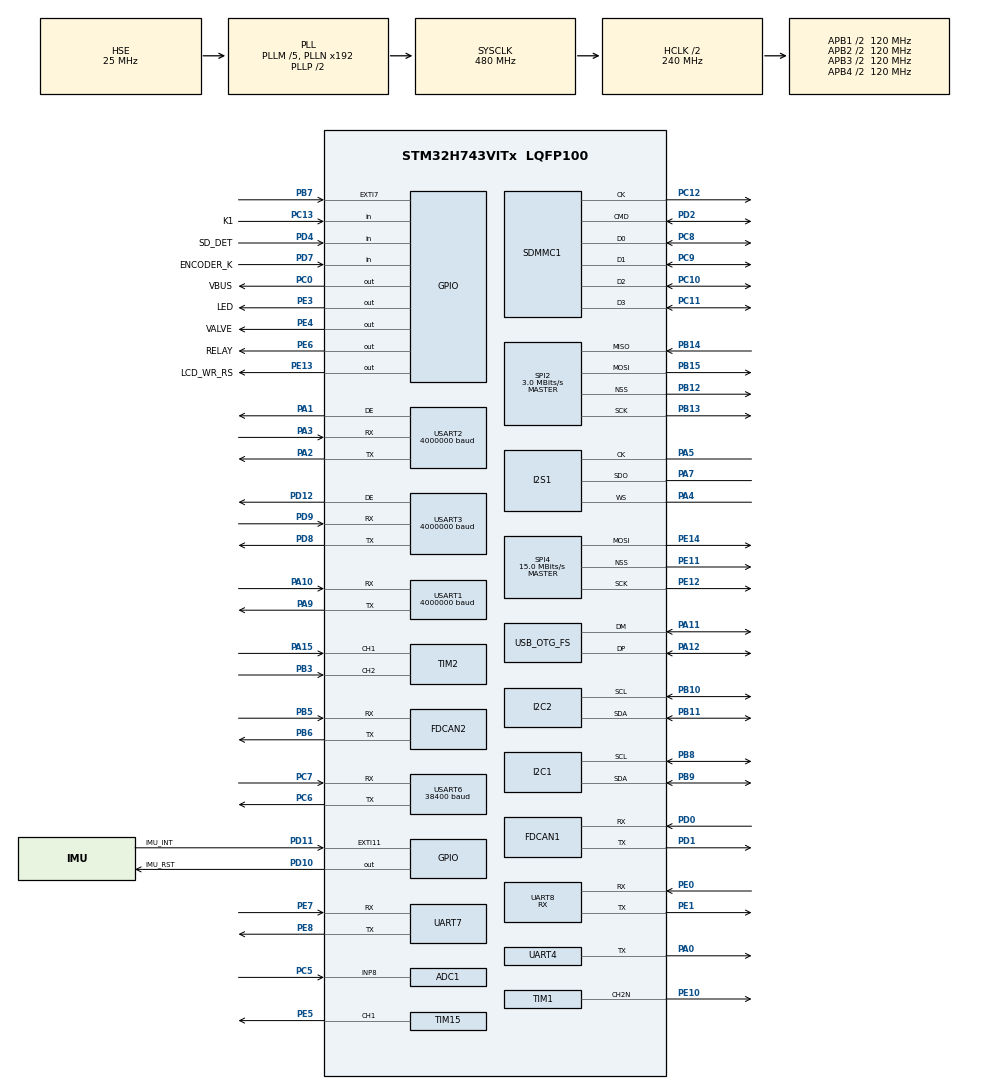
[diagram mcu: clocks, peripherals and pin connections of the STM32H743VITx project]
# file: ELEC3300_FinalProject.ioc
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ADC1.Channel-0\#ChannelRegularConversion=ADC_CHANNEL_8
ADC1.ClockPrescalerADC3=ADC_CLOCK_ASYNC_DIV256
ADC1.NbrOfConversionFlag=1
ADC1.OffsetNumber-0\#ChannelRegularConversion=ADC_OFFSET_NONE
ADC1.OffsetSignedSaturation-0\#ChannelRegularConversion=DISABLE
ADC1.Rank-0\#ChannelRegularConversion=1
ADC1.SamplingTime-0\#ChannelRegularConversion=ADC_SAMPLETIME_1CYCLE_5
ADC1.master=1
ADC3.Channel-0\#ChannelRegularConversion=ADC_CHANNEL_TEMPSENSOR
ADC3.ClockPrescalerADC3=ADC_CLOCK_ASYNC_DIV256
ADC3.ContinuousConvMode=ENABLE
ADC3.NbrOfConversionFlag=1
ADC3.OffsetNumber-0\#ChannelRegularConversion=ADC_OFFSET_NONE
ADC3.OffsetSignedSaturation-0\#ChannelRegularConversion=DISABLE
ADC3.OversamplingMode=DISABLE
ADC3.Rank-0\#ChannelRegularConversion=1
ADC3.Resolution=ADC_RESOLUTION_12B
ADC3.SamplingTime-0\#ChannelRegularConversion=ADC_SAMPLETIME_810CYCLES_5
CORTEX_M7.CPU_ICache=Enabled
CORTEX_M7.default_mode_Activation=0
CRC.CRCLength=CRC_POLYLENGTH_16B
CRC.DefaultInitValueUse=DEFAULT_INIT_VALUE_DISABLE
CRC.DefaultPolynomialUse=DEFAULT_POLYNOMIAL_DISABLE
CRC.GeneratingPolynomial=X12+X5+X0
CRC.InitValue=0xFFFF
CRC.InputDataFormat=CRC_INPUTDATA_FORMAT_BYTES
CRC.InputDataInversionMode=CRC_INPUTDATA_INVERSION_NONE
CRC.OutputDataInversionMode=CRC_OUTPUTDATA_INVERSION_ENABLE
Dma.I2C1_RX.0.Direction=DMA_PERIPH_TO_MEMORY
Dma.I2C1_RX.0.EventEnable=DISABLE
Dma.I2C1_RX.0.FIFOMode=DMA_FIFOMODE_DISABLE
Dma.I2C1_RX.0.Instance=DMA1_Stream5
Dma.I2C1_RX.0.MemDataAlignment=DMA_MDATAALIGN_BYTE
Dma.I2C1_RX.0.MemInc=DMA_MINC_ENABLE
Dma.I2C1_RX.0.Mode=DMA_NORMAL
Dma.I2C1_RX.0.PeriphDataAlignment=DMA_PDATAALIGN_BYTE
Dma.I2C1_RX.0.PeriphInc=DMA_PINC_DISABLE
Dma.I2C1_RX.0.Polarity=HAL_DMAMUX_REQ_GEN_RISING
Dma.I2C1_RX.0.Priority=DMA_PRIORITY_LOW
Dma.I2C1_RX.0.RequestNumber=1
Dma.I2C1_RX.0.SignalID=NONE
Dma.I2C1_RX.0.SyncEnable=DISABLE
Dma.I2C1_RX.0.SyncPolarity=HAL_DMAMUX_SYNC_NO_EVENT
Dma.I2C1_RX.0.SyncRequestNumber=1
Dma.I2C1_RX.0.SyncSignalID=NONE
Dma.I2C1_TX.1.Direction=DMA_MEMORY_TO_PERIPH
Dma.I2C1_TX.1.EventEnable=DISABLE
Dma.I2C1_TX.1.FIFOMode=DMA_FIFOMODE_DISABLE
Dma.I2C1_TX.1.Instance=DMA1_Stream1
Dma.I2C1_TX.1.MemDataAlignment=DMA_MDATAALIGN_BYTE
Dma.I2C1_TX.1.MemInc=DMA_MINC_ENABLE
Dma.I2C1_TX.1.Mode=DMA_NORMAL
Dma.I2C1_TX.1.PeriphDataAlignment=DMA_PDATAALIGN_BYTE
Dma.I2C1_TX.1.PeriphInc=DMA_PINC_DISABLE
Dma.I2C1_TX.1.Polarity=HAL_DMAMUX_REQ_GEN_RISING
Dma.I2C1_TX.1.Priority=DMA_PRIORITY_LOW
Dma.I2C1_TX.1.RequestNumber=1
Dma.I2C1_TX.1.SignalID=NONE
Dma.I2C1_TX.1.SyncEnable=DISABLE
Dma.I2C1_TX.1.SyncPolarity=HAL_DMAMUX_SYNC_NO_EVENT
Dma.I2C1_TX.1.SyncRequestNumber=1
Dma.I2C1_TX.1.SyncSignalID=NONE
Dma.Request0=I2C1_RX
Dma.Request1=I2C1_TX
Dma.Request10=USART2_RX
Dma.Request11=USART2_TX
Dma.Request12=USART3_RX
Dma.Request13=USART3_TX
Dma.Request14=SPI1_TX
Dma.Request2=SPI2_RX
Dma.Request3=SPI2_TX
Dma.Request4=SPI4_TX
Dma.Request5=UART4_TX
Dma.Request6=UART7_RX
Dma.Request7=UART7_TX
Dma.Request8=USART1_RX
Dma.Request9=USART1_TX
Dma.SPI1_TX.14.Direction=DMA_MEMORY_TO_PERIPH
Dma.SPI1_TX.14.EventEnable=DISABLE
Dma.SPI1_TX.14.FIFOMode=DMA_FIFOMODE_DISABLE
Dma.SPI1_TX.14.Instance=DMA2_Stream0
Dma.SPI1_TX.14.MemDataAlignment=DMA_MDATAALIGN_HALFWORD
Dma.SPI1_TX.14.MemInc=DMA_MINC_ENABLE
Dma.SPI1_TX.14.Mode=DMA_NORMAL
Dma.SPI1_TX.14.PeriphDataAlignment=DMA_PDATAALIGN_HALFWORD
Dma.SPI1_TX.14.PeriphInc=DMA_PINC_DISABLE
Dma.SPI1_TX.14.Polarity=HAL_DMAMUX_REQ_GEN_RISING
Dma.SPI1_TX.14.Priority=DMA_PRIORITY_LOW
Dma.SPI1_TX.14.RequestNumber=1
Dma.SPI1_TX.14.SignalID=NONE
Dma.SPI1_TX.14.SyncEnable=DISABLE
Dma.SPI1_TX.14.SyncPolarity=HAL_DMAMUX_SYNC_NO_EVENT
Dma.SPI1_TX.14.SyncRequestNumber=1
Dma.SPI1_TX.14.SyncSignalID=NONE
Dma.SPI2_RX.2.Direction=DMA_PERIPH_TO_MEMORY
Dma.SPI2_RX.2.EventEnable=DISABLE
Dma.SPI2_RX.2.FIFOMode=DMA_FIFOMODE_DISABLE
Dma.SPI2_RX.2.Instance=DMA1_Stream2
Dma.SPI2_RX.2.MemDataAlignment=DMA_MDATAALIGN_BYTE
Dma.SPI2_RX.2.MemInc=DMA_MINC_ENABLE
Dma.SPI2_RX.2.Mode=DMA_NORMAL
Dma.SPI2_RX.2.PeriphDataAlignment=DMA_PDATAALIGN_BYTE
Dma.SPI2_RX.2.PeriphInc=DMA_PINC_DISABLE
Dma.SPI2_RX.2.Polarity=HAL_DMAMUX_REQ_GEN_RISING
Dma.SPI2_RX.2.Priority=DMA_PRIORITY_LOW
Dma.SPI2_RX.2.RequestNumber=1
Dma.SPI2_RX.2.SignalID=NONE
Dma.SPI2_RX.2.SyncEnable=DISABLE
Dma.SPI2_RX.2.SyncPolarity=HAL_DMAMUX_SYNC_NO_EVENT
Dma.SPI2_RX.2.SyncRequestNumber=1
Dma.SPI2_RX.2.SyncSignalID=NONE
Dma.SPI2_TX.3.Direction=DMA_MEMORY_TO_PERIPH
Dma.SPI2_TX.3.EventEnable=DISABLE
Dma.SPI2_TX.3.FIFOMode=DMA_FIFOMODE_DISABLE
Dma.SPI2_TX.3.Instance=DMA1_Stream3
Dma.SPI2_TX.3.MemDataAlignment=DMA_MDATAALIGN_BYTE
Dma.SPI2_TX.3.MemInc=DMA_MINC_ENABLE
Dma.SPI2_TX.3.Mode=DMA_NORMAL
Dma.SPI2_TX.3.PeriphDataAlignment=DMA_PDATAALIGN_BYTE
Dma.SPI2_TX.3.PeriphInc=DMA_PINC_DISABLE
Dma.SPI2_TX.3.Polarity=HAL_DMAMUX_REQ_GEN_RISING
Dma.SPI2_TX.3.Priority=DMA_PRIORITY_LOW
Dma.SPI2_TX.3.RequestNumber=1
Dma.SPI2_TX.3.SignalID=NONE
Dma.SPI2_TX.3.SyncEnable=DISABLE
Dma.SPI2_TX.3.SyncPolarity=HAL_DMAMUX_SYNC_NO_EVENT
Dma.SPI2_TX.3.SyncRequestNumber=1
Dma.SPI2_TX.3.SyncSignalID=NONE
Dma.SPI4_TX.4.Direction=DMA_MEMORY_TO_PERIPH
Dma.SPI4_TX.4.EventEnable=DISABLE
Dma.SPI4_TX.4.FIFOMode=DMA_FIFOMODE_DISABLE
Dma.SPI4_TX.4.Instance=DMA1_Stream4
Dma.SPI4_TX.4.MemDataAlignment=DMA_MDATAALIGN_BYTE
Dma.SPI4_TX.4.MemInc=DMA_MINC_ENABLE
Dma.SPI4_TX.4.Mode=DMA_NORMAL
Dma.SPI4_TX.4.PeriphDataAlignment=DMA_PDATAALIGN_BYTE
Dma.SPI4_TX.4.PeriphInc=DMA_PINC_DISABLE
Dma.SPI4_TX.4.Polarity=HAL_DMAMUX_REQ_GEN_RISING
Dma.SPI4_TX.4.Priority=DMA_PRIORITY_LOW
Dma.SPI4_TX.4.RequestNumber=1
Dma.SPI4_TX.4.SignalID=NONE
Dma.SPI4_TX.4.SyncEnable=DISABLE
Dma.SPI4_TX.4.SyncPolarity=HAL_DMAMUX_SYNC_NO_EVENT
Dma.SPI4_TX.4.SyncRequestNumber=1
Dma.SPI4_TX.4.SyncSignalID=NONE
Dma.UART4_TX.5.Direction=DMA_MEMORY_TO_PERIPH
Dma.UART4_TX.5.EventEnable=DISABLE
Dma.UART4_TX.5.FIFOMode=DMA_FIFOMODE_DISABLE
Dma.UART4_TX.5.Instance=DMA1_Stream0
Dma.UART4_TX.5.MemDataAlignment=DMA_MDATAALIGN_BYTE
Dma.UART4_TX.5.MemInc=DMA_MINC_ENABLE
Dma.UART4_TX.5.Mode=DMA_NORMAL
Dma.UART4_TX.5.PeriphDataAlignment=DMA_PDATAALIGN_BYTE
Dma.UART4_TX.5.PeriphInc=DMA_PINC_DISABLE
Dma.UART4_TX.5.Polarity=HAL_DMAMUX_REQ_GEN_RISING
Dma.UART4_TX.5.Priority=DMA_PRIORITY_LOW
Dma.UART4_TX.5.RequestNumber=1
Dma.UART4_TX.5.SignalID=NONE
Dma.UART4_TX.5.SyncEnable=DISABLE
Dma.UART4_TX.5.SyncPolarity=HAL_DMAMUX_SYNC_NO_EVENT
Dma.UART4_TX.5.SyncRequestNumber=1
Dma.UART4_TX.5.SyncSignalID=NONE
Dma.UART7_RX.6.Direction=DMA_PERIPH_TO_MEMORY
Dma.UART7_RX.6.EventEnable=DISABLE
Dma.UART7_RX.6.FIFOMode=DMA_FIFOMODE_DISABLE
Dma.UART7_RX.6.Instance=DMA1_Stream6
Dma.UART7_RX.6.MemDataAlignment=DMA_MDATAALIGN_BYTE
Dma.UART7_RX.6.MemInc=DMA_MINC_ENABLE
Dma.UART7_RX.6.Mode=DMA_NORMAL
Dma.UART7_RX.6.PeriphDataAlignment=DMA_PDATAALIGN_BYTE
Dma.UART7_RX.6.PeriphInc=DMA_PINC_DISABLE
Dma.UART7_RX.6.Polarity=HAL_DMAMUX_REQ_GEN_RISING
Dma.UART7_RX.6.Priority=DMA_PRIORITY_LOW
Dma.UART7_RX.6.RequestNumber=1
Dma.UART7_RX.6.SignalID=NONE
Dma.UART7_RX.6.SyncEnable=DISABLE
Dma.UART7_RX.6.SyncPolarity=HAL_DMAMUX_SYNC_NO_EVENT
Dma.UART7_RX.6.SyncRequestNumber=1
Dma.UART7_RX.6.SyncSignalID=NONE
Dma.UART7_TX.7.Direction=DMA_MEMORY_TO_PERIPH
Dma.UART7_TX.7.EventEnable=DISABLE
Dma.UART7_TX.7.FIFOMode=DMA_FIFOMODE_DISABLE
Dma.UART7_TX.7.Instance=DMA1_Stream7
Dma.UART7_TX.7.MemDataAlignment=DMA_MDATAALIGN_BYTE
Dma.UART7_TX.7.MemInc=DMA_MINC_ENABLE
Dma.UART7_TX.7.Mode=DMA_NORMAL
Dma.UART7_TX.7.PeriphDataAlignment=DMA_PDATAALIGN_BYTE
Dma.UART7_TX.7.PeriphInc=DMA_PINC_DISABLE
Dma.UART7_TX.7.Polarity=HAL_DMAMUX_REQ_GEN_RISING
Dma.UART7_TX.7.Priority=DMA_PRIORITY_LOW
Dma.UART7_TX.7.RequestNumber=1
Dma.UART7_TX.7.SignalID=NONE
Dma.UART7_TX.7.SyncEnable=DISABLE
Dma.UART7_TX.7.SyncPolarity=HAL_DMAMUX_SYNC_NO_EVENT
Dma.UART7_TX.7.SyncRequestNumber=1
Dma.UART7_TX.7.SyncSignalID=NONE
Dma.USART1_RX.8.Direction=DMA_PERIPH_TO_MEMORY
Dma.USART1_RX.8.EventEnable=DISABLE
Dma.USART1_RX.8.FIFOMode=DMA_FIFOMODE_DISABLE
Dma.USART1_RX.8.Instance=DMA2_Stream1
Dma.USART1_RX.8.MemDataAlignment=DMA_MDATAALIGN_BYTE
Dma.USART1_RX.8.MemInc=DMA_MINC_ENABLE
Dma.USART1_RX.8.Mode=DMA_NORMAL
Dma.USART1_RX.8.PeriphDataAlignment=DMA_PDATAALIGN_BYTE
Dma.USART1_RX.8.PeriphInc=DMA_PINC_DISABLE
Dma.USART1_RX.8.Polarity=HAL_DMAMUX_REQ_GEN_RISING
Dma.USART1_RX.8.Priority=DMA_PRIORITY_LOW
Dma.USART1_RX.8.RequestNumber=1
Dma.USART1_RX.8.SignalID=NONE
Dma.USART1_RX.8.SyncEnable=DISABLE
Dma.USART1_RX.8.SyncPolarity=HAL_DMAMUX_SYNC_NO_EVENT
Dma.USART1_RX.8.SyncRequestNumber=1
Dma.USART1_RX.8.SyncSignalID=NONE
Dma.USART1_TX.9.Direction=DMA_MEMORY_TO_PERIPH
Dma.USART1_TX.9.EventEnable=DISABLE
Dma.USART1_TX.9.FIFOMode=DMA_FIFOMODE_DISABLE
Dma.USART1_TX.9.Instance=DMA2_Stream2
Dma.USART1_TX.9.MemDataAlignment=DMA_MDATAALIGN_BYTE
Dma.USART1_TX.9.MemInc=DMA_MINC_ENABLE
Dma.USART1_TX.9.Mode=DMA_NORMAL
Dma.USART1_TX.9.PeriphDataAlignment=DMA_PDATAALIGN_BYTE
Dma.USART1_TX.9.PeriphInc=DMA_PINC_DISABLE
Dma.USART1_TX.9.Polarity=HAL_DMAMUX_REQ_GEN_RISING
Dma.USART1_TX.9.Priority=DMA_PRIORITY_LOW
Dma.USART1_TX.9.RequestNumber=1
Dma.USART1_TX.9.SignalID=NONE
Dma.USART1_TX.9.SyncEnable=DISABLE
Dma.USART1_TX.9.SyncPolarity=HAL_DMAMUX_SYNC_NO_EVENT
Dma.USART1_TX.9.SyncRequestNumber=1
Dma.USART1_TX.9.SyncSignalID=NONE
Dma.USART2_RX.10.Direction=DMA_PERIPH_TO_MEMORY
Dma.USART2_RX.10.EventEnable=DISABLE
Dma.USART2_RX.10.FIFOMode=DMA_FIFOMODE_DISABLE
Dma.USART2_RX.10.Instance=DMA2_Stream3
Dma.USART2_RX.10.MemDataAlignment=DMA_MDATAALIGN_BYTE
Dma.USART2_RX.10.MemInc=DMA_MINC_ENABLE
Dma.USART2_RX.10.Mode=DMA_NORMAL
Dma.USART2_RX.10.PeriphDataAlignment=DMA_PDATAALIGN_BYTE
Dma.USART2_RX.10.PeriphInc=DMA_PINC_DISABLE
Dma.USART2_RX.10.Polarity=HAL_DMAMUX_REQ_GEN_RISING
Dma.USART2_RX.10.Priority=DMA_PRIORITY_LOW
Dma.USART2_RX.10.RequestNumber=1
Dma.USART2_RX.10.SignalID=NONE
Dma.USART2_RX.10.SyncEnable=DISABLE
Dma.USART2_RX.10.SyncPolarity=HAL_DMAMUX_SYNC_NO_EVENT
Dma.USART2_RX.10.SyncRequestNumber=1
Dma.USART2_RX.10.SyncSignalID=NONE
Dma.USART2_TX.11.Direction=DMA_MEMORY_TO_PERIPH
Dma.USART2_TX.11.EventEnable=DISABLE
Dma.USART2_TX.11.FIFOMode=DMA_FIFOMODE_DISABLE
Dma.USART2_TX.11.Instance=DMA2_Stream4
Dma.USART2_TX.11.MemDataAlignment=DMA_MDATAALIGN_BYTE
Dma.USART2_TX.11.MemInc=DMA_MINC_ENABLE
Dma.USART2_TX.11.Mode=DMA_NORMAL
Dma.USART2_TX.11.PeriphDataAlignment=DMA_PDATAALIGN_BYTE
Dma.USART2_TX.11.PeriphInc=DMA_PINC_DISABLE
Dma.USART2_TX.11.Polarity=HAL_DMAMUX_REQ_GEN_RISING
Dma.USART2_TX.11.Priority=DMA_PRIORITY_LOW
Dma.USART2_TX.11.RequestNumber=1
Dma.USART2_TX.11.SignalID=NONE
Dma.USART2_TX.11.SyncEnable=DISABLE
Dma.USART2_TX.11.SyncPolarity=HAL_DMAMUX_SYNC_NO_EVENT
Dma.USART2_TX.11.SyncRequestNumber=1
Dma.USART2_TX.11.SyncSignalID=NONE
Dma.USART3_RX.12.Direction=DMA_PERIPH_TO_MEMORY
Dma.USART3_RX.12.EventEnable=DISABLE
Dma.USART3_RX.12.FIFOMode=DMA_FIFOMODE_DISABLE
Dma.USART3_RX.12.Instance=DMA2_Stream5
Dma.USART3_RX.12.MemDataAlignment=DMA_MDATAALIGN_BYTE
Dma.USART3_RX.12.MemInc=DMA_MINC_ENABLE
Dma.USART3_RX.12.Mode=DMA_NORMAL
Dma.USART3_RX.12.PeriphDataAlignment=DMA_PDATAALIGN_BYTE
Dma.USART3_RX.12.PeriphInc=DMA_PINC_DISABLE
Dma.USART3_RX.12.Polarity=HAL_DMAMUX_REQ_GEN_RISING
Dma.USART3_RX.12.Priority=DMA_PRIORITY_LOW
Dma.USART3_RX.12.RequestNumber=1
Dma.USART3_RX.12.SignalID=NONE
Dma.USART3_RX.12.SyncEnable=DISABLE
Dma.USART3_RX.12.SyncPolarity=HAL_DMAMUX_SYNC_NO_EVENT
Dma.USART3_RX.12.SyncRequestNumber=1
Dma.USART3_RX.12.SyncSignalID=NONE
Dma.USART3_TX.13.Direction=DMA_MEMORY_TO_PERIPH
Dma.USART3_TX.13.EventEnable=DISABLE
Dma.USART3_TX.13.FIFOMode=DMA_FIFOMODE_DISABLE
Dma.USART3_TX.13.Instance=DMA2_Stream6
Dma.USART3_TX.13.MemDataAlignment=DMA_MDATAALIGN_BYTE
Dma.USART3_TX.13.MemInc=DMA_MINC_ENABLE
Dma.USART3_TX.13.Mode=DMA_NORMAL
Dma.USART3_TX.13.PeriphDataAlignment=DMA_PDATAALIGN_BYTE
Dma.USART3_TX.13.PeriphInc=DMA_PINC_DISABLE
Dma.USART3_TX.13.Polarity=HAL_DMAMUX_REQ_GEN_RISING
Dma.USART3_TX.13.Priority=DMA_PRIORITY_LOW
Dma.USART3_TX.13.RequestNumber=1
Dma.USART3_TX.13.SignalID=NONE
Dma.USART3_TX.13.SyncEnable=DISABLE
Dma.USART3_TX.13.SyncPolarity=HAL_DMAMUX_SYNC_NO_EVENT
Dma.USART3_TX.13.SyncRequestNumber=1
Dma.USART3_TX.13.SyncSignalID=NONE
FDCAN1.AutoRetransmission=DISABLE
FDCAN1.CalculateBaudRateNominal=1000000
FDCAN1.CalculateTimeBitNominal=1000
FDCAN1.CalculateTimeQuantumNominal=83.33333333333333
FDCAN1.DataPrescaler=8
FDCAN1.DataSyncJumpWidth=1
FDCAN1.DataTimeSeg1=8
FDCAN1.DataTimeSeg2=3
FDCAN1.Mode=FDCAN_MODE_NORMAL
FDCAN1.NominalPrescaler=8
FDCAN1.NominalSyncJumpWidth=1
FDCAN1.NominalTimeSeg1=8
FDCAN1.NominalTimeSeg2=3
FDCAN1.RxFifo0ElmtsNbr=32
FDCAN1.RxFifo1ElmtsNbr=0
FDCAN1.StdFiltersNbr=8
FDCAN1.TxFifoQueueElmtsNbr=32
FDCAN1.TxFifoQueueMode=FDCAN_TX_FIFO_OPERATION
FDCAN2.AutoRetransmission=DISABLE
FDCAN2.CalculateBaudRateNominal=1000000
FDCAN2.CalculateTimeBitNominal=1000
FDCAN2.CalculateTimeQuantumNominal=83.33333333333333
FDCAN2.DataPrescaler=8
FDCAN2.DataTimeSeg1=8
FDCAN2.DataTimeSeg2=3
FDCAN2.MessageRAMOffset=1000
FDCAN2.NominalPrescaler=8
FDCAN2.NominalTimeSeg1=8
FDCAN2.NominalTimeSeg2=3
FDCAN2.RxFifo0ElmtsNbr=32
FDCAN2.StdFiltersNbr=16
FDCAN2.TransmitPause=DISABLE
FDCAN2.TxFifoQueueElmtsNbr=32
FDCAN2.TxFifoQueueMode=FDCAN_TX_FIFO_OPERATION
I2C1.Timing=0x307075B1
I2C2.Timing=0x307075B1
I2S1.AudioFreq=I2S_AUDIOFREQ_48K
I2S1.Data24BitAlignment=I2S_DATA_24BIT_ALIGNMENT_LEFT
I2S1.DataFormat=I2S_DATAFORMAT_16B_EXTENDED
I2S1.ErrorAudioFreq=0.8 %
I2S1.FirstBit=I2S_FIRSTBIT_MSB
I2S1.Instance=SPI$Index
I2S1.MasterKeepIOState=I2S_MASTER_KEEP_IO_STATE_DISABLE
I2S1.RealAudioFreq=48.387 KHz
I2S1.Standard=I2S_STANDARD_PHILIPS
I2S1.WSInversion=I2S_WS_INVERSION_DISABLE
Mcu.Family=STM32H7
Mcu.Name=STM32H743VITx
Mcu.Package=LQFP100
NVIC.ADC3_IRQn=true\:14\:0\:true\:false\:true\:true\:true\:true
NVIC.DMA1_Stream0_IRQn=true\:0\:0\:false\:false\:true\:false\:true\:true
NVIC.DMA1_Stream1_IRQn=true\:0\:0\:false\:false\:true\:false\:true\:true
NVIC.DMA1_Stream2_IRQn=true\:0\:0\:false\:false\:true\:false\:true\:true
NVIC.DMA1_Stream3_IRQn=true\:0\:0\:false\:false\:true\:false\:true\:true
NVIC.DMA1_Stream4_IRQn=true\:0\:0\:false\:false\:true\:false\:true\:true
NVIC.DMA1_Stream5_IRQn=true\:0\:0\:false\:false\:true\:false\:true\:true
NVIC.DMA1_Stream6_IRQn=true\:0\:0\:false\:false\:true\:false\:true\:true
NVIC.DMA1_Stream7_IRQn=true\:0\:0\:false\:false\:true\:false\:true\:true
NVIC.DMA2_Stream0_IRQn=true\:0\:0\:true\:false\:true\:false\:true\:true
NVIC.DMA2_Stream1_IRQn=true\:0\:0\:false\:false\:true\:false\:true\:true
NVIC.DMA2_Stream2_IRQn=true\:0\:0\:false\:false\:true\:false\:true\:true
NVIC.DMA2_Stream3_IRQn=true\:0\:0\:false\:false\:true\:false\:true\:true
NVIC.DMA2_Stream4_IRQn=true\:0\:0\:false\:false\:true\:false\:true\:true
NVIC.DMA2_Stream5_IRQn=true\:0\:0\:false\:false\:true\:false\:true\:true
NVIC.DMA2_Stream6_IRQn=true\:0\:0\:false\:false\:true\:false\:true\:true
NVIC.EXTI15_10_IRQn=true\:0\:0\:false\:false\:true\:true\:true\:true
NVIC.FDCAN1_IT0_IRQn=true\:10\:0\:true\:false\:true\:true\:true\:true
NVIC.FDCAN1_IT1_IRQn=true\:10\:0\:true\:false\:true\:true\:true\:true
NVIC.FDCAN2_IT0_IRQn=true\:10\:0\:true\:false\:true\:true\:true\:true
NVIC.FDCAN2_IT1_IRQn=true\:10\:0\:true\:false\:true\:true\:true\:true
NVIC.OTG_FS_IRQn=true\:0\:0\:false\:false\:true\:false\:true\:true
NVIC.PriorityGroup=NVIC_PRIORITYGROUP_4
NVIC.SDMMC1_IRQn=true\:0\:0\:true\:false\:true\:true\:true\:true
NVIC.SPI1_IRQn=true\:4\:0\:true\:false\:true\:true\:true\:true
NVIC.SPI2_IRQn=true\:2\:0\:true\:false\:true\:false\:true\:true
NVIC.SPI4_IRQn=true\:10\:0\:true\:false\:true\:false\:true\:true
NVIC.TIM6_DAC_IRQn=true\:13\:0\:true\:false\:true\:true\:true\:true
NVIC.UART4_IRQn=true\:10\:0\:true\:false\:true\:true\:true\:true
NVIC.USART2_IRQn=true\:0\:0\:false\:false\:true\:true\:true\:true
NVIC.USART6_IRQn=true\:0\:0\:false\:false\:true\:true\:true\:true
PA0.GPIO_ModeDefaultOD=GPIO_MODE_AF_PP
PA0.GPIO_PuPd=GPIO_NOPULL
PA0.Mode=Half_duplex(single_wire_mode)
PA0.Signal=UART4_TX
PA1.GPIO_PuPd=GPIO_PULLDOWN
PA1.Mode=Hardware Flow Control (RS485)
PA1.Signal=USART2_DE
PA10.Mode=Asynchronous
PA10.Signal=USART1_RX
PA11.Mode=Host_Only
PA11.Signal=USB_OTG_FS_DM
PA12.Mode=Host_Only
PA12.PinAttribute=Free
PA12.Signal=USB_OTG_FS_DP
PA13\ (JTMS/SWDIO).Mode=Serial_Wire
PA13\ (JTMS/SWDIO).Signal=DEBUG_JTMS-SWDIO
PA14\ (JTCK/SWCLK).Mode=Serial_Wire
PA14\ (JTCK/SWCLK).Signal=DEBUG_JTCK-SWCLK
PA15\ (JTDI).PinAttribute=Free
PA15\ (JTDI).Signal=S_TIM2_CH1_ETR
PA2.GPIO_PuPd=GPIO_PULLUP
PA2.Mode=Asynchronous
PA2.PinAttribute=Free
PA2.Signal=USART2_TX
PA3.GPIO_PuPd=GPIO_PULLUP
PA3.Mode=Asynchronous
PA3.PinAttribute=Free
PA3.Signal=USART2_RX
PA4.Mode=Half_Duplex_Master_Tx
PA4.PinAttribute=Free
PA4.Signal=I2S1_WS
PA5.Mode=Half_Duplex_Master_Tx
PA5.Signal=I2S1_CK
PA7.Mode=Half_Duplex_Master_Tx
PA7.Signal=I2S1_SDO
PA9.Mode=Asynchronous
PA9.Signal=USART1_TX
PB10.Mode=I2C
PB10.Signal=I2C2_SCL
PB11.Mode=I2C
PB11.Signal=I2C2_SDA
PB12.GPIO_PuPd=GPIO_PULLUP
PB12.Mode=NSS_Signal_Hard_Output
PB12.Signal=SPI2_NSS
PB13.GPIO_PuPd=GPIO_PULLUP
PB13.Mode=Full_Duplex_Master
PB13.Signal=SPI2_SCK
PB14.GPIO_PuPd=GPIO_PULLUP
PB14.Mode=Full_Duplex_Master
PB14.PinAttribute=Free
PB14.Signal=SPI2_MISO
PB15.GPIO_PuPd=GPIO_NOPULL
PB15.Mode=Full_Duplex_Master
PB15.PinAttribute=Free
PB15.Signal=SPI2_MOSI
PB3\ (JTDO/TRACESWO).PinAttribute=Free
PB3\ (JTDO/TRACESWO).Signal=S_TIM2_CH2
PB5.Mode=FDCAN_Activate
PB5.PinAttribute=Free
PB5.Signal=FDCAN2_RX
PB6.Mode=FDCAN_Activate
PB6.Signal=FDCAN2_TX
PB7.Signal=GPXTI7
PB8.Mode=I2C
PB8.PinAttribute=Free
PB8.Signal=I2C1_SCL
PB9.Mode=I2C
PB9.PinAttribute=Free
PB9.Signal=I2C1_SDA
PC0.GPIO_Label=VBUS
PC0.PinAttribute=Free
PC0.Signal=GPIO_Output
PC10.Mode=SD_4_bits_Wide_bus
PC10.Signal=SDMMC1_D2
PC11.Mode=SD_4_bits_Wide_bus
PC11.Signal=SDMMC1_D3
PC12.GPIO_PuPd=GPIO_PULLUP
PC12.Mode=SD_4_bits_Wide_bus
PC12.PinAttribute=Free
PC12.Signal=SDMMC1_CK
PC13.GPIO_Label=K1
PC13.Signal=GPIO_Input
PC5.Signal=ADCx_INP8
PC6.GPIO_PuPd=GPIO_PULLUP
PC6.Mode=Asynchronous
PC6.Signal=USART6_TX
PC7.GPIO_PuPd=GPIO_PULLUP
PC7.Mode=Asynchronous
PC7.Signal=USART6_RX
PC8.Mode=SD_4_bits_Wide_bus
PC8.Signal=SDMMC1_D0
PC9.Mode=SD_4_bits_Wide_bus
PC9.Signal=SDMMC1_D1
PD0.Mode=FDCAN_Activate
PD0.PinAttribute=Free
PD0.Signal=FDCAN1_RX
PD1.Mode=FDCAN_Activate
PD1.PinAttribute=Free
PD1.Signal=FDCAN1_TX
PD10.GPIO_Label=IMU_RST
PD10.GPIO_PuPd=GPIO_PULLDOWN
PD10.Signal=GPIO_Output
PD11.GPIO_Label=IMU_INT
PD11.GPIO_ModeDefaultEXTI=GPIO_MODE_IT_FALLING
PD11.GPIO_PuPd=GPIO_PULLUP
PD11.Signal=GPXTI11
PD12.Mode=Hardware Flow Control (RS485)
PD12.Signal=USART3_DE
PD2.Mode=SD_4_bits_Wide_bus
PD2.PinAttribute=Free
PD2.Signal=SDMMC1_CMD
PD4.GPIO_Label=SD_DET
PD4.GPIO_PuPd=GPIO_PULLDOWN
PD4.PinAttribute=Free
PD4.Signal=GPIO_Input
PD7.GPIO_Label=ENCODER_K
PD7.PinAttribute=Free
PD7.Signal=GPIO_Input
PD8.Mode=Asynchronous
PD8.Signal=USART3_TX
PD9.Mode=Asynchronous
PD9.Signal=USART3_RX
PE0.Mode=IrDA
PE0.Signal=UART8_RX
PE1.Mode=IrDA
PE1.Signal=UART8_TX
PE10.Mode=PWM Generation2 CH2N
PE10.Signal=TIM1_CH2N
PE11.Mode=NSS_Signal_Hard_Output
PE11.Signal=SPI4_NSS
PE12.Mode=TX_Only_Simplex_Unidirect_Master
PE12.Signal=SPI4_SCK
PE13.GPIO_Label=LCD_WR_RS
PE13.Signal=GPIO_Output
PE14.Mode=TX_Only_Simplex_Unidirect_Master
PE14.Signal=SPI4_MOSI
PE3.GPIO_Label=LED
PE3.Signal=GPIO_Output
PE4.GPIO_Label=VALVE
PE4.Signal=GPIO_Output
PE5.Signal=S_TIM15_CH1
PE6.GPIO_Label=RELAY
PE6.Signal=GPIO_Output
PE7.Mode=Asynchronous
PE7.Signal=UART7_RX
PE8.Mode=Asynchronous
PE8.Signal=UART7_TX
PH0-OSC_IN\ (PH0).Mode=HSE-External-Oscillator
PH0-OSC_IN\ (PH0).Signal=RCC_OSC_IN
PH1-OSC_OUT\ (PH1).Mode=HSE-External-Oscillator
PH1-OSC_OUT\ (PH1).PinAttribute=Free
PH1-OSC_OUT\ (PH1).Signal=RCC_OSC_OUT
ProjectManager.HeapSize=0x400
ProjectManager.StackSize=0x800
ProjectManager.TargetToolchain=Makefile
RCC.ADCCLockSelection=RCC_ADCCLKSOURCE_PLL3
RCC.ADCFreq_Value=80000000
RCC.APB1Freq_Value=120000000
RCC.APB2Freq_Value=120000000
RCC.APB3Freq_Value=120000000
RCC.APB4Freq_Value=120000000
RCC.CortexFreq_Value=480000000
RCC.D1PPRE=RCC_APB3_DIV2
RCC.D2PPRE1=RCC_APB1_DIV2
RCC.D2PPRE2=RCC_APB2_DIV2
RCC.D3PPRE=RCC_APB4_DIV2
RCC.DIVM1=5
RCC.DIVM2=5
RCC.DIVM3=5
RCC.DIVN1=192
RCC.DIVN2=160
RCC.DIVN3=96
RCC.DIVP2=5
RCC.DIVP3=10
RCC.DIVQ1=10
RCC.DIVQ2=5
RCC.DIVQ3=10
RCC.DIVR1=20
RCC.DIVR2=4
RCC.DIVR3=6
RCC.HCLKFreq_Value=240000000
RCC.HPRE=RCC_HCLK_DIV2
RCC.PLL1_VCI_Range-AdvancedSettings=RCC_PLL1VCIRANGE_0
RCC.PLL2FRACN=0
RCC.PLL2_VCI_Range-AdvancedSettings=RCC_PLL2VCIRANGE_1
RCC.PLL2_VCO_SEL-AdvancedSettings=RCC_PLL2VCOMEDIUM
RCC.PLL3FRACN=0
RCC.PLL3_VCI_Range-AdvancedSettings=RCC_PLL3VCIRANGE_0
RCC.PLL3_VCO_SEL=RCC_PLL3VCOWIDE
RCC.PLL3_VCO_SEL-AdvancedSettings=RCC_PLL3VCOMEDIUM
RCC.PLLFRACN=0
RCC.PLLSourceVirtual=RCC_PLLSOURCE_HSE
RCC.ProductRev=revV
RCC.SDMMC1CLockSelection=RCC_SDMMCCLKSOURCE_PLL2
RCC.SYSCLKFreq_VALUE=480000000
RCC.SYSCLKSource=RCC_SYSCLKSOURCE_PLLCLK
RCC.USBCLockSelection=RCC_USBCLKSOURCE_PLL3
RCC.USBFreq_Value=48000000
SDMMC1.ClockDiv=0
SDMMC1.HardwareFlowControl=SDMMC_HARDWARE_FLOW_CONTROL_DISABLE
SH.ADCx_INP8.0=ADC1_INP8,IN8-Single-Ended
SH.S_TIM15_CH1.0=TIM15_CH1,PWM Generation1 CH1
SH.S_TIM2_CH1_ETR.0=TIM2_CH1,Encoder_Interface
SH.S_TIM2_CH2.0=TIM2_CH2,Encoder_Interface
SPI2.BaudRatePrescaler=SPI_BAUDRATEPRESCALER_32
SPI2.CLKPhase=SPI_PHASE_2EDGE
SPI2.CLKPolarity=SPI_POLARITY_HIGH
SPI2.CalculateBaudRate=3.0 MBits/s
SPI2.DataSize=SPI_DATASIZE_8BIT
SPI2.Direction=SPI_DIRECTION_2LINES
SPI2.Mode=SPI_MODE_MASTER
SPI2.NSSPMode=SPI_NSS_PULSE_DISABLE
SPI2.VirtualNSS=VM_NSSHARD
SPI2.VirtualType=VM_MASTER
SPI4.BaudRatePrescaler=SPI_BAUDRATEPRESCALER_8
SPI4.CalculateBaudRate=15.0 MBits/s
SPI4.DataSize=SPI_DATASIZE_8BIT
SPI4.Direction=SPI_DIRECTION_2LINES_TXONLY
SPI4.Mode=SPI_MODE_MASTER
SPI4.VirtualNSS=VM_NSSHARD
SPI4.VirtualType=VM_MASTER
TIM1.Channel-PWM\ Generation2\ CH2N=TIM_CHANNEL_2
TIM15.AutoReloadPreload=TIM_AUTORELOAD_PRELOAD_ENABLE
TIM15.Channel-PWM\ Generation1\ CH1=TIM_CHANNEL_1
TIM15.Period=1000 - 1
TIM2.EncoderMode=TIM_ENCODERMODE_TI12
TIM6.AutoReloadPreload=TIM_AUTORELOAD_PRELOAD_ENABLE
TIM6.Period=1000-1
TIM6.Prescaler=240-1
UART4.BaudRate=2500000
UART4.MSBFirstParam=UART_ADVFEATURE_MSBFIRST_ENABLE
UART4.Mode=MODE_TX
UART4.RxPinLevelInvertParam=UART_ADVFEATURE_RXINV_ENABLE
UART4.TxPinLevelInvertParam=UART_ADVFEATURE_TXINV_ENABLE
UART4.WordLength=WORDLENGTH_7B
UART8.Mode=MODE_RX
USART1.BaudRate=4000000
USART1.VirtualMode-Asynchronous=VM_ASYNC
USART2.BaudRate=4000000
USART2.FIFOMode=FIFOMODE_ENABLE
USART2.UART_DEAssertionTime=3
USART2.UART_DEDeassertionTime=3
USART2.UART_DEPolarity=UART_DE_POLARITY_HIGH
USART2.VirtualMode-Asynchronous=VM_ASYNC
USART2.VirtualMode-Hardware\ Flow\ Control\ (RS485)=VM_ASYNC
USART3.BaudRate=4000000
USART3.VirtualMode-Asynchronous=VM_ASYNC
USART3.VirtualMode-Hardware\ Flow\ Control\ (RS485)=VM_ASYNC
USART6.BaudRate=38400
USART6.FIFOMode=FIFOMODE_ENABLE
USART6.VirtualMode=VM_ASYNC
USB_HOST.BSP.number=1
USB_HOST.USBH_HandleTypeDef-HID_FS=hUsbHostFS
USB_HOST.VirtualModeFS=Hid
USB_HOST0.BSP.STBoard=false
USB_HOST0.BSP.api=Unknown
USB_HOST0.BSP.instance=PC0
USB_HOST0.BSP.ip=GPIO
USB_HOST0.BSP.mode=Output
USB_HOST0.BSP.name=Drive_VBUS_FS
USB_HOST0.BSP.solution=PC0
USB_OTG_FS.VirtualMode=Host_Only
USB_OTG_FS.phy_itface=HCD_PHY_EMBEDDED
VP_ADC3_TempSens_Input.Mode=IN-TempSens
VP_CRC_VS_CRC.Mode=CRC_Activate
VP_TIM15_VS_ClockSourceINT.Mode=Internal
VP_TIM6_VS_ClockSourceINT.Mode=Enable_Timer
VP_TIM7_VS_ClockSourceINT.Mode=Enable_Timer
VP_USB_HOST_VS_USB_HOST_HID_FS.Mode=HID_FS
board=custom

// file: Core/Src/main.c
/* USER CODE BEGIN Header */
/**
  ******************************************************************************
  * @file           : main.c
  * @brief          : Main program body
  ******************************************************************************
  * @attention
  *
  * Copyright (c) 2023 STMicroelectronics.
  * All rights reserved.
  *
  * This software is licensed under terms that can be found in the LICENSE file
  * in the root directory of this software component.
  * If no LICENSE file comes with this software, it is provided AS-IS.
  *
  ******************************************************************************
  */
/* USER CODE END Header */
#include "main.h"
#include "adc.h"
#include "crc.h"
#include "dma.h"
#include "fdcan.h"
#include "i2c.h"
#include "i2s.h"
#include "sdmmc.h"
#include "spi.h"
#include "tim.h"
#include "usart.h"
#include "usb_host.h"
#include "gpio.h"

/* USER CODE BEGIN Includes */
#include "RotaryEncoder.h"
#include "IMU.h"
#include "TemperatureSensor.h"
#include "SpaceMouse.h"
#include "BreathingLight.h"
#include "WS2812B.h"
#include "WAVPlayer.h"
#include "GO_M8010_6.h"
#include "DM4310.h"
#include "OS.h"
#include "LCD.h"
#include "string.h"
#include "HT4310.h"
#include "DM4310.h"
#include "Keyboard.h"
/* USER CODE END Includes */

/* USER CODE BEGIN PV */
uint32_t localTick = 0;
struct GRB grbArray[15];
/* USER CODE END PV */

void SystemClock_Config(void);
void PeriphCommonClock_Config(void);
void MX_USB_HOST_Process(void);

int main(void)
{

  /* Enable I-Cache---------------------------------------------------------*/
  SCB_EnableICache();

  /* MCU Configuration--------------------------------------------------------*/

  /* Reset of all peripherals, Initializes the Flash interface and the Systick. */
  HAL_Init();

  /* Configure the system clock */
  SystemClock_Config();

/* Configure the peripherals common clocks */
  PeriphCommonClock_Config();

  /* Initialize all configured peripherals */
  MX_GPIO_Init();
  MX_DMA_Init();
  MX_FDCAN1_Init();
  MX_FDCAN2_Init();
  MX_SDMMC1_SD_Init();
  MX_I2C1_Init();
  MX_I2S1_Init();
  MX_SPI2_Init();
  MX_USB_HOST_Init();
  MX_CRC_Init();
  MX_ADC1_Init();
  MX_I2C2_Init();
  MX_SPI4_Init();
  MX_TIM1_Init();
  MX_TIM2_Init();
  MX_TIM7_Init();
  MX_TIM15_Init();
  MX_USART3_UART_Init();
  MX_USART2_UART_Init();
  MX_USART1_UART_Init();
  MX_USART6_UART_Init();
  MX_UART7_Init();
  MX_UART4_Init();
  MX_UART8_IRDA_Init();
  MX_ADC3_Init();
  MX_TIM6_Init();
  /* USER CODE BEGIN 2 */
  HAL_Delay(500);
  RotaryEncoder_init();
  IMU_init();
  HAL_Delay(50);
  TemperatureSensor_init();
  SpaceMouse_init();
  HAL_Delay(10);
  BreathingLight_init();
  WAVPlayer_init();
  HAL_Delay(1000);
  DM4310_init();
  HT4310_init();
  LCD_init();

  GO_M8010_6_init();
  WAVPlayer_play();

  OS_init();
  /* USER CODE END 2 */

  /* Infinite loop */
  while (1)
  {
    MX_USB_HOST_Process();

    /* USER CODE BEGIN 3 */
    BreathingLight_update();
    uint32_t encoder = RotaryEncoder_read();

    char text[11] = "";
    memset(text, ' ', 10);
    sprintf(text, "%10u", encoder);
    LCD_ShowString(0, 14, ST7735Ctx.Width, 16, 12, text);

    char text2[11] = "";
    memset(text, 0, 10);
    switch (motorCtr)
    {
    case 0:

      sprintf(text2, "%10s", "Keyboard");
      LCD_ShowString(0, 28, ST7735Ctx.Width, 16, 12, text2);
      break;

    case 1:
      // char text2[11] = "";
      sprintf(text2, "%10s", "IMU");
      LCD_ShowString(0, 28, ST7735Ctx.Width, 16, 12, text2);
      break;

    case 2:
      // char text2[11] = "";
      sprintf(text2, "%10s", "SpaceMouse");
      LCD_ShowString(0, 28, ST7735Ctx.Width, 16, 12, text2);

      break;
    default:
      break;
    }

    char text3[6] = {0};
    sprintf(text3, "%5u", TemperatureSensor_getTemp());
    LCD_ShowString(0, 42, ST7735Ctx.Width, 16, 12, text3);

    if(localTick % 25)
    {
      uint16_t gx = (HAL_GetTick() >> 2) % 768;
      uint16_t rx = ((HAL_GetTick() >> 2) + 768 / 3) % 768;
      uint16_t bx = ((HAL_GetTick() >> 2) + 768 * 2 / 3) % 768;

      uint8_t g = gx < 256 ? gx : gx < 512 ? 255 : 768 - 1 - gx;
      uint8_t r = rx < 256 ? rx : rx < 512 ? 255 : 768 - 1 - rx;
      uint8_t b = bx < 256 ? bx : bx < 512 ? 255 : 768 - 1 - bx;

      uint32_t num = encoder >> 2;

      if((int)encoder < 0)
      {
        num = 0;
      }
      else if(num > 15)
      {
        num = 15;
      }

      for(uint8_t i = 0; i < 15; ++i)
      {
        if(i < num)
        {
          grbArray[i].g = g;
          grbArray[i].r = r;
          grbArray[i].b = b;
        }
        else
        {
          grbArray[i].g = 0;
          grbArray[i].r = 0;
          grbArray[i].b = 0;
        }
      }

      WS2812B_convert(grbArray, 15);
      WS2812B_send(15);
    }

    localTick++;
  }
  /* USER CODE END 3 */
}

void SystemClock_Config(void)
{
  RCC_OscInitTypeDef RCC_OscInitStruct = {0};
  RCC_ClkInitTypeDef RCC_ClkInitStruct = {0};

  /** Supply configuration update enable
  */
  HAL_PWREx_ConfigSupply(PWR_LDO_SUPPLY);

  /** Configure the main internal regulator output voltage
  */
  __HAL_PWR_VOLTAGESCALING_CONFIG(PWR_REGULATOR_VOLTAGE_SCALE1);

  while(!__HAL_PWR_GET_FLAG(PWR_FLAG_VOSRDY)) {}

  __HAL_RCC_SYSCFG_CLK_ENABLE();
  __HAL_PWR_VOLTAGESCALING_CONFIG(PWR_REGULATOR_VOLTAGE_SCALE0);

  while(!__HAL_PWR_GET_FLAG(PWR_FLAG_VOSRDY)) {}

  /** Initializes the RCC Oscillators according to the specified parameters
  * in the RCC_OscInitTypeDef structure.
  */
  RCC_OscInitStruct.OscillatorType = RCC_OSCILLATORTYPE_HSE;
  RCC_OscInitStruct.HSEState = RCC_HSE_ON;
  RCC_OscInitStruct.PLL.PLLState = RCC_PLL_ON;
  RCC_OscInitStruct.PLL.PLLSource = RCC_PLLSOURCE_HSE;
  RCC_OscInitStruct.PLL.PLLM = 5;
  RCC_OscInitStruct.PLL.PLLN = 192;
  RCC_OscInitStruct.PLL.PLLP = 2;
  RCC_OscInitStruct.PLL.PLLQ = 10;
  RCC_OscInitStruct.PLL.PLLR = 20;
  RCC_OscInitStruct.PLL.PLLRGE = RCC_PLL1VCIRANGE_2;
  RCC_OscInitStruct.PLL.PLLVCOSEL = RCC_PLL1VCOWIDE;
  RCC_OscInitStruct.PLL.PLLFRACN = 0;
  if (HAL_RCC_OscConfig(&RCC_OscInitStruct) != HAL_OK)
  {
    Error_Handler();
  }

  /** Initializes the CPU, AHB and APB buses clocks
  */
  RCC_ClkInitStruct.ClockType = RCC_CLOCKTYPE_HCLK|RCC_CLOCKTYPE_SYSCLK
                              |RCC_CLOCKTYPE_PCLK1|RCC_CLOCKTYPE_PCLK2
                              |RCC_CLOCKTYPE_D3PCLK1|RCC_CLOCKTYPE_D1PCLK1;
  RCC_ClkInitStruct.SYSCLKSource = RCC_SYSCLKSOURCE_PLLCLK;
  RCC_ClkInitStruct.SYSCLKDivider = RCC_SYSCLK_DIV1;
  RCC_ClkInitStruct.AHBCLKDivider = RCC_HCLK_DIV2;
  RCC_ClkInitStruct.APB3CLKDivider = RCC_APB3_DIV2;
  RCC_ClkInitStruct.APB1CLKDivider = RCC_APB1_DIV2;
  RCC_ClkInitStruct.APB2CLKDivider = RCC_APB2_DIV2;
  RCC_ClkInitStruct.APB4CLKDivider = RCC_APB4_DIV2;

  if (HAL_RCC_ClockConfig(&RCC_ClkInitStruct, FLASH_LATENCY_4) != HAL_OK)
  {
    Error_Handler();
  }
}

void PeriphCommonClock_Config(void)
{
  RCC_PeriphCLKInitTypeDef PeriphClkInitStruct = {0};

  /** Initializes the peripherals clock
  */
  PeriphClkInitStruct.PeriphClockSelection = RCC_PERIPHCLK_USB|RCC_PERIPHCLK_ADC;
  PeriphClkInitStruct.PLL3.PLL3M = 5;
  PeriphClkInitStruct.PLL3.PLL3N = 96;
  PeriphClkInitStruct.PLL3.PLL3P = 10;
  PeriphClkInitStruct.PLL3.PLL3Q = 10;
  PeriphClkInitStruct.PLL3.PLL3R = 6;
  PeriphClkInitStruct.PLL3.PLL3RGE = RCC_PLL3VCIRANGE_2;
  PeriphClkInitStruct.PLL3.PLL3VCOSEL = RCC_PLL3VCOWIDE;
  PeriphClkInitStruct.PLL3.PLL3FRACN = 0;
  PeriphClkInitStruct.UsbClockSelection = RCC_USBCLKSOURCE_PLL3;
  PeriphClkInitStruct.AdcClockSelection = RCC_ADCCLKSOURCE_PLL3;
  if (HAL_RCCEx_PeriphCLKConfig(&PeriphClkInitStruct) != HAL_OK)
  {
    Error_Handler();
  }
}

void Error_Handler(void)
{
  __disable_irq();
  while (1)
  {
  }
}
